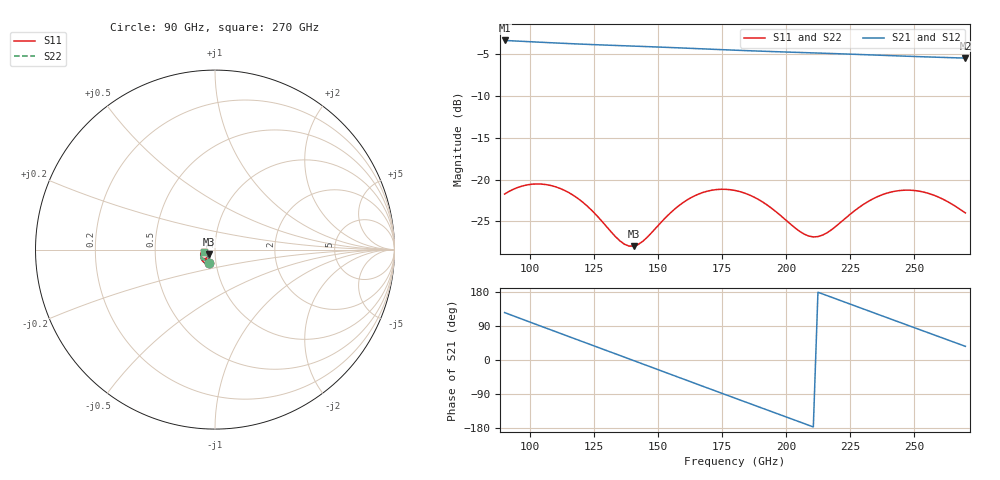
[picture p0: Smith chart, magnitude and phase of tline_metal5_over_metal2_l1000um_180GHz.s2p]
#  GHZ S DB R 50
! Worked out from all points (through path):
!   101 points, 90 GHz to 270 GHz, reference 50 ohm
!   highest |S21| = -3.37 dB at 90 GHz (marker M1); lowest = -5.5 dB at 270 GHz (marker M2)
!   group delay of S21, straight-line fit = 6.93 ps
!   lowest |S11| = -28.0 dB at 140.4 GHz (marker M3), VSWR 1.08, Z = 46.8 - j2.24 ohm
!   |S11| at or under -10 dB: start of sweep to end of sweep
!   |S22| runs from -28.1 to -20.5 dB; largest |S21 - S12| = 9.5e-14
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90  -21.74 -114.0  -3.37 125.2  -3.37 125.2  -21.69 -113.3
97.2  -20.75 -126.1  -3.48 106.9  -3.48 106.9  -20.71 -125.5
104.4  -20.54 -138.9  -3.59 88.7  -3.59 88.7  -20.51 -138.4
111.6  -21.05 -151.0  -3.70 70.6  -3.70 70.6  -21.04 -150.6
120.6  -22.73 -163.0  -3.82 48.1  -3.82 48.1  -22.74 -162.7
131.4  -26.18 -164.3  -3.95 21.0  -3.95 21.0  -26.26 -163.9
140.4  -27.97 -143.3  -4.05 -1.5  -4.05 -1.5  -28.07 -142.3
151.2  -25.09 -125.2  -4.17 -28.6  -4.17 -28.6  -25.09 -124.0
165.6  -21.76 -135.7  -4.35 -64.7  -4.35 -64.7  -21.73 -134.8
172.8  -21.20 -145.4  -4.45 -82.7  -4.45 -82.7  -21.17 -144.5
180  -21.31 -155.2  -4.54 -100.6  -4.54 -100.6  -21.28 -154.4
187.2  -22.07 -163.8  -4.62 -118.5  -4.62 -118.5  -22.05 -163.0
196.2  -23.89 -169.7  -4.72 -140.9  -4.72 -140.9  -23.89 -168.9
203.4  -25.77 -166.5  -4.79 -158.8  -4.79 -158.8  -25.79 -165.6
210.6  -26.86 -153.5  -4.86 -176.7  -4.86 -176.7  -26.88 -152.4
217.8  -25.98 -139.7  -4.93 165.4  -4.93 165.4  -25.97 -138.4
225  -24.15 -135.1  -5.01 147.5  -5.01 147.5  -24.12 -133.9
234  -22.29 -139.5  -5.11 125.1  -5.11 125.1  -22.24 -138.4
241.2  -21.48 -146.8  -5.19 107.2  -5.19 107.2  -21.42 -145.7
248.4  -21.27 -155.0  -5.27 89.4  -5.27 89.4  -21.21 -154.0
255.6  -21.66 -162.7  -5.34 71.6  -5.34 71.6  -21.59 -161.8
270  -23.99 -169.9  -5.48 36.0  -5.48 36.0  -23.89 -169.1
